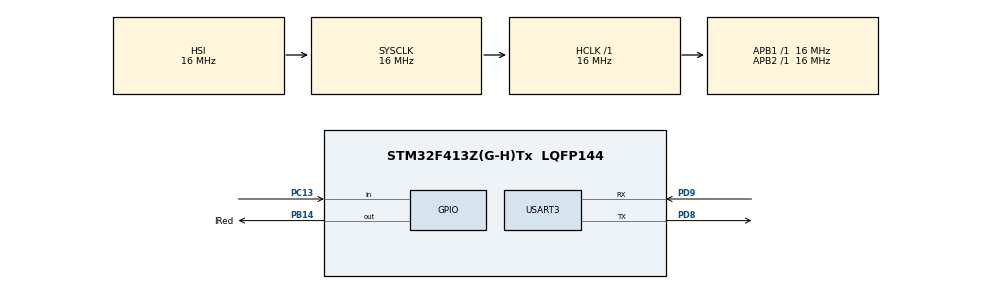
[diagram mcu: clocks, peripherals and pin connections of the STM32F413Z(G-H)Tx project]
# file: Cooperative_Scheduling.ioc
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Mcu.Family=STM32F4
Mcu.Name=STM32F413Z(G-H)Tx
Mcu.Package=LQFP144
NVIC.PriorityGroup=NVIC_PRIORITYGROUP_4
NVIC.TIM2_IRQn=true\:0\:0\:false\:false\:true\:true\:true\:true
PA13.Signal=SYS_JTMS-SWDIO
PB14.GPIO_Label=IRed
PB14.Signal=GPIO_Output
PC13.Signal=GPIO_Input
PD8.Mode=Asynchronous
PD8.Signal=USART3_TX
PD9.Mode=Asynchronous
PD9.Signal=USART3_RX
ProjectManager.HeapSize=0x200
ProjectManager.StackSize=0x400
ProjectManager.TargetToolchain=STM32CubeIDE
RCC.AHBFreq_Value=16000000
RCC.APB1Freq_Value=16000000
RCC.APB1TimFreq_Value=16000000
RCC.APB2Freq_Value=16000000
RCC.APB2TimFreq_Value=16000000
RCC.CortexFreq_Value=16000000
RCC.HCLKFreq_Value=16000000
RCC.SYSCLKFreq_VALUE=16000000
RCC.USBFreq_Value=96000000
RCC.VCOOutputFreq_Value=192000000
TIM2.AutoReloadPreload=TIM_AUTORELOAD_PRELOAD_ENABLE
TIM2.Period=1000-1
TIM2.Prescaler=(15200/1000)-1
USART3.VirtualMode=VM_ASYNC
VP_TIM2_VS_ClockSourceINT.Mode=Internal
board=custom

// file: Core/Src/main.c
/* USER CODE BEGIN Header */
/**
  ******************************************************************************
  * @file           : main.c
  * @brief          : Main program body
  ******************************************************************************
  * @attention
  *
  * Copyright (c) 2025 STMicroelectronics.
  * All rights reserved.
  *
  * This software is licensed under terms that can be found in the LICENSE file
  * in the root directory of this software component.
  * If no LICENSE file comes with this software, it is provided AS-IS.
  *
  ******************************************************************************
  */
/* USER CODE END Header */
#include "main.h"

/* USER CODE BEGIN Includes */
#include <stdio.h>
/* USER CODE END Includes */

TIM_HandleTypeDef htim2;

UART_HandleTypeDef huart3;

void SystemClock_Config(void);
static void MX_GPIO_Init(void);
static void MX_USART3_UART_Init(void);
static void MX_TIM2_Init(void);

/* USER CODE BEGIN 0 */
char buffer[50];
int  buffer_len;
uint16_t timer_val;
uint16_t tick_ms;
uint16_t button_memory;
/* USER CODE END 0 */

int main(void)
{

  /* MCU Configuration--------------------------------------------------------*/

  /* Reset of all peripherals, Initializes the Flash interface and the Systick. */
  HAL_Init();

  /* Configure the system clock */
  SystemClock_Config();

  /* Initialize all configured peripherals */
  MX_GPIO_Init();
  MX_USART3_UART_Init();
  MX_TIM2_Init();
  /* USER CODE BEGIN 2 */
  HAL_TIM_Base_Start_IT(&htim2);
  /* USER CODE END 2 */

  /* Infinite loop */
  /* USER CODE BEGIN WHILE */
  buffer_len = sprintf( buffer, "Measuring time test\r\n");
  HAL_UART_Transmit(&huart3, (uint8_t *) buffer, buffer_len, 100);
  while (1)
  {
    /* USER CODE END WHILE */

  }
}

void SystemClock_Config(void)
{
  RCC_OscInitTypeDef RCC_OscInitStruct = {0};
  RCC_ClkInitTypeDef RCC_ClkInitStruct = {0};

  /** Configure the main internal regulator output voltage
  */
  __HAL_RCC_PWR_CLK_ENABLE();
  __HAL_PWR_VOLTAGESCALING_CONFIG(PWR_REGULATOR_VOLTAGE_SCALE1);

  /** Initializes the RCC Oscillators according to the specified parameters
  * in the RCC_OscInitTypeDef structure.
  */
  RCC_OscInitStruct.OscillatorType = RCC_OSCILLATORTYPE_HSI;
  RCC_OscInitStruct.HSIState = RCC_HSI_ON;
  RCC_OscInitStruct.HSICalibrationValue = RCC_HSICALIBRATION_DEFAULT;
  RCC_OscInitStruct.PLL.PLLState = RCC_PLL_NONE;
  if (HAL_RCC_OscConfig(&RCC_OscInitStruct) != HAL_OK)
  {
    Error_Handler();
  }

  /** Initializes the CPU, AHB and APB buses clocks
  */
  RCC_ClkInitStruct.ClockType = RCC_CLOCKTYPE_HCLK|RCC_CLOCKTYPE_SYSCLK
                              |RCC_CLOCKTYPE_PCLK1|RCC_CLOCKTYPE_PCLK2;
  RCC_ClkInitStruct.SYSCLKSource = RCC_SYSCLKSOURCE_HSI;
  RCC_ClkInitStruct.AHBCLKDivider = RCC_SYSCLK_DIV1;
  RCC_ClkInitStruct.APB1CLKDivider = RCC_HCLK_DIV1;
  RCC_ClkInitStruct.APB2CLKDivider = RCC_HCLK_DIV1;

  if (HAL_RCC_ClockConfig(&RCC_ClkInitStruct, FLASH_LATENCY_0) != HAL_OK)
  {
    Error_Handler();
  }
}

static void MX_TIM2_Init(void)
{

  TIM_ClockConfigTypeDef sClockSourceConfig = {0};
  TIM_MasterConfigTypeDef sMasterConfig = {0};

  htim2.Instance = TIM2;
  htim2.Init.Prescaler = (15200/1000)-1;
  htim2.Init.CounterMode = TIM_COUNTERMODE_UP;
  htim2.Init.Period = 1000-1;
  htim2.Init.ClockDivision = TIM_CLOCKDIVISION_DIV1;
  htim2.Init.AutoReloadPreload = TIM_AUTORELOAD_PRELOAD_ENABLE;
  if (HAL_TIM_Base_Init(&htim2) != HAL_OK)
  {
    Error_Handler();
  }
  sClockSourceConfig.ClockSource = TIM_CLOCKSOURCE_INTERNAL;
  if (HAL_TIM_ConfigClockSource(&htim2, &sClockSourceConfig) != HAL_OK)
  {
    Error_Handler();
  }
  sMasterConfig.MasterOutputTrigger = TIM_TRGO_RESET;
  sMasterConfig.MasterSlaveMode = TIM_MASTERSLAVEMODE_DISABLE;
  if (HAL_TIMEx_MasterConfigSynchronization(&htim2, &sMasterConfig) != HAL_OK)
  {
    Error_Handler();
  }

}

static void MX_USART3_UART_Init(void)
{

  huart3.Instance = USART3;
  huart3.Init.BaudRate = 115200;
  huart3.Init.WordLength = UART_WORDLENGTH_8B;
  huart3.Init.StopBits = UART_STOPBITS_1;
  huart3.Init.Parity = UART_PARITY_NONE;
  huart3.Init.Mode = UART_MODE_TX_RX;
  huart3.Init.HwFlowCtl = UART_HWCONTROL_NONE;
  huart3.Init.OverSampling = UART_OVERSAMPLING_16;
  if (HAL_UART_Init(&huart3) != HAL_OK)
  {
    Error_Handler();
  }

}

static void MX_GPIO_Init(void)
{
  GPIO_InitTypeDef GPIO_InitStruct = {0};

  /* GPIO Ports Clock Enable */
  __HAL_RCC_GPIOC_CLK_ENABLE();
  __HAL_RCC_GPIOB_CLK_ENABLE();
  __HAL_RCC_GPIOD_CLK_ENABLE();
  __HAL_RCC_GPIOA_CLK_ENABLE();

  /*Configure GPIO pin Output Level */
  HAL_GPIO_WritePin(IRed_GPIO_Port, IRed_Pin, GPIO_PIN_RESET);

  /*Configure GPIO pin : PC13 */
  GPIO_InitStruct.Pin = GPIO_PIN_13;
  GPIO_InitStruct.Mode = GPIO_MODE_INPUT;
  GPIO_InitStruct.Pull = GPIO_NOPULL;
  HAL_GPIO_Init(GPIOC, &GPIO_InitStruct);

  /*Configure GPIO pin : IRed_Pin */
  GPIO_InitStruct.Pin = IRed_Pin;
  GPIO_InitStruct.Mode = GPIO_MODE_OUTPUT_PP;
  GPIO_InitStruct.Pull = GPIO_NOPULL;
  GPIO_InitStruct.Speed = GPIO_SPEED_FREQ_LOW;
  HAL_GPIO_Init(IRed_GPIO_Port, &GPIO_InitStruct);

}

/* USER CODE BEGIN 4 */
void HAL_TIM_PeriodElapsedCallback(TIM_HandleTypeDef *htim){
	if(htim == &htim2){
		// 6. Read the first timestamp (counter register)
			timer_val = __HAL_TIM_GET_COUNTER(&htim2);
			tick_ms = timer_val;

			// 7. Do some work. 80 it gives 13ms, 90 gives 15ms, 100 gives 16 ms
			for(int i=0; i<=1000; i++);

			// 8. Read the second timestamp and computer the counter difference
			timer_val = __HAL_TIM_GET_COUNTER(&htim2) - timer_val;

			// 9. Transform an unsigned int value to a string
			buffer_len = sprintf(buffer,"%u ms\r\n", timer_val);

			// 10. Send data to UART3
			HAL_UART_Transmit(&huart3, (uint8_t *) buffer, buffer_len, 10);
	}
}
void scheduler_loop(void){
	static uint32_t last_led = 0;
	static uint32_t last_btn = 0;
	static uint32_t last_uart = 0;
	//static uint32_t last_adc = 0;
	if ((tick_ms - last_led) >= 500){
		HAL_GPIO_TogglePin(IRed_GPIO_Port, IRed_Pin);
		last_led = tick_ms;
	}
	if ((tick_ms - last_btn) >= 3000){
		button_memory = HAL_GPIO_ReadPin(IRed_GPIO_Port, IRed_Pin);
		last_btn = tick_ms;
	}
	if ((tick_ms - last_uart) >= 1000){
		if (button_memory == 1){
			HAL_UART_Transmit(&huart3, (uint8_t *) "Pressed", buffer_len, 10);
		} else {
			HAL_UART_Transmit(&huart3, (uint8_t *) "Not Pressed", buffer_len, 10);
		}
		last_uart = tick_ms;
	}
}
/* USER CODE END 4 */

void Error_Handler(void)
{
  __disable_irq();
  while (1)
  {
  }
}
